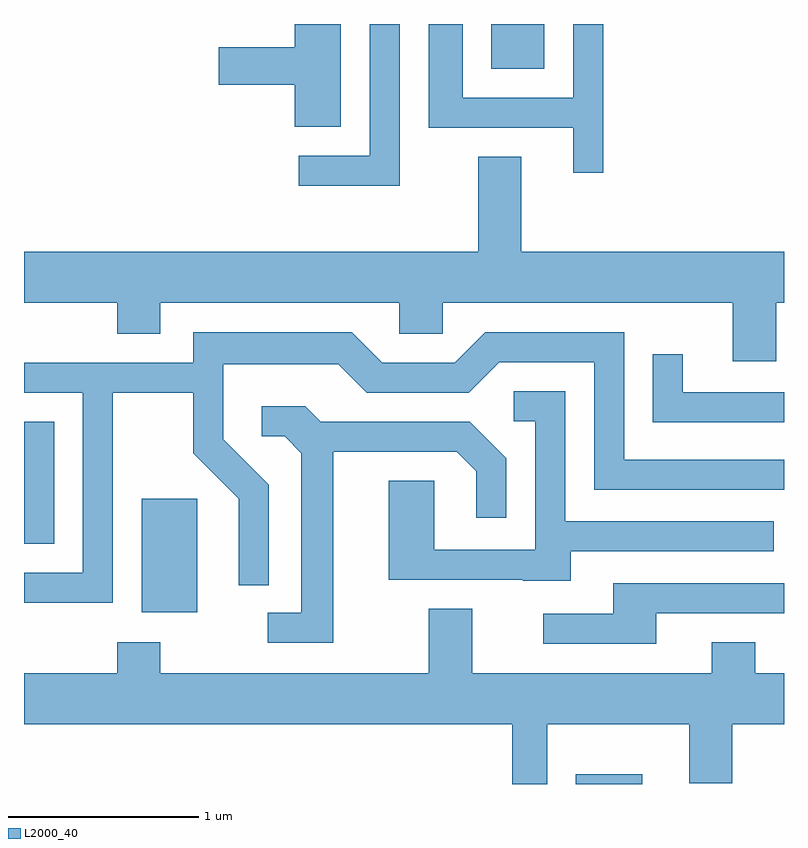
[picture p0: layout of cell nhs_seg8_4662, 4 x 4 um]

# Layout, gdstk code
import gdstk
lib = gdstk.Library(unit=1e-6, precision=1e-09)
def R(c, l, rs):  # rectangles x0, y0, x1, y1
    for r in rs: c.add(gdstk.rectangle(r[:2], r[2:], *l))
def P(c, l, *ps):  # polygons
    for p in ps: c.add(gdstk.Polygon(p, *l))
L2000_40 = (2000, 40)

nhs_seg8_4662 = lib.new_cell('nhs_seg8_4662')
R(nhs_seg8_4662, L2000_40, [(328.516,1818.342,328.864,1818.394), (326.231,1819.246,326.524,1819.844), (325.611,1819.606,325.769,1820.249), (328.071,1822.106,328.349,1822.342)])
P(nhs_seg8_4662, L2000_40, [(327.279,1822.342),(327.036,1822.342),(327.036,1822.219),(326.636,1822.219),(326.636,1822.021),(327.036,1822.021),(327.036,1821.801),(327.279,1821.801)],
  [(328.659,1822.342),(328.501,1822.342),(328.501,1821.954),(327.919,1821.954),(327.919,1822.342),(327.741,1822.342),(327.741,1821.796),(328.501,1821.796),(328.501,1821.558),(328.659,1821.558)],
  [(327.589,1822.342),(327.431,1822.342),(327.431,1821.649),(327.058,1821.649),(327.058,1821.491),(327.589,1821.491)],
  [(329.569,1820.876),(329.611,1820.876),(329.611,1821.144),(328.229,1821.144),(328.229,1821.644),(328.001,1821.644),(328.001,1821.144),(325.611,1821.144),(325.611,1820.876),(326.101,1820.876),(326.101,1820.711),(326.329,1820.711),(326.329,1820.876),(327.586,1820.876),(327.586,1820.711),(327.814,1820.711),(327.814,1820.876),(329.341,1820.876),(329.341,1820.566),(329.569,1820.566)],
  [(326.079,1820.401),(326.501,1820.401),(326.501,1820.084),(326.741,1819.844),(326.741,1819.388),(326.899,1819.388),(326.899,1819.917),(326.659,1820.157),(326.659,1820.551),(327.264,1820.551),(327.414,1820.401),(327.952,1820.401),(328.112,1820.561),(328.611,1820.561),(328.611,1819.891),(329.611,1819.891),(329.611,1820.049),(328.769,1820.049),(328.769,1820.719),(328.039,1820.719),(327.879,1820.559),(327.497,1820.559),(327.337,1820.719),(326.501,1820.719),(326.501,1820.559),(325.611,1820.559),(325.611,1820.401),(325.921,1820.401),(325.921,1819.454),(325.611,1819.454),(325.611,1819.296),(326.079,1819.296)],
  [(329.611,1820.404),(329.079,1820.404),(329.079,1820.603),(328.921,1820.603),(328.921,1820.246),(329.611,1820.246)],
  [(328.489,1819.566),(329.558,1819.566),(329.558,1819.724),(328.459,1819.724),(328.459,1820.409),(328.188,1820.409),(328.188,1820.251),(328.301,1820.251),(328.301,1819.574),(327.769,1819.574),(327.769,1819.939),(327.531,1819.939),(327.531,1819.416),(328.235,1819.416),(328.235,1819.411),(328.489,1819.411)],
  [(327.239,1820.091),(327.889,1820.091),(327.991,1819.989),(327.991,1819.743),(328.149,1819.743),(328.149,1820.057),(327.957,1820.249),(327.172,1820.249),(327.092,1820.329),(326.863,1820.329),(326.863,1820.171),(326.984,1820.171),(327.071,1820.084),(327.071,1819.244),(326.893,1819.244),(326.893,1819.086),(327.239,1819.086)],
  [(328.939,1819.241),(329.611,1819.241),(329.611,1819.399),(328.711,1819.399),(328.711,1819.239),(328.343,1819.239),(328.343,1819.081),(328.939,1819.081)],
  [(328.364,1818.656),(329.111,1818.656),(329.111,1818.346),(329.339,1818.346),(329.339,1818.656),(329.611,1818.656),(329.611,1818.924),(329.459,1818.924),(329.459,1819.089),(329.231,1819.089),(329.231,1818.924),(327.969,1818.924),(327.969,1819.264),(327.741,1819.264),(327.741,1818.924),(326.329,1818.924),(326.329,1819.089),(326.101,1819.089),(326.101,1818.924),(325.611,1818.924),(325.611,1818.656),(328.181,1818.656),(328.181,1818.342),(328.364,1818.342)])

lib.write_gds('nhs_seg8_4662.gds')
